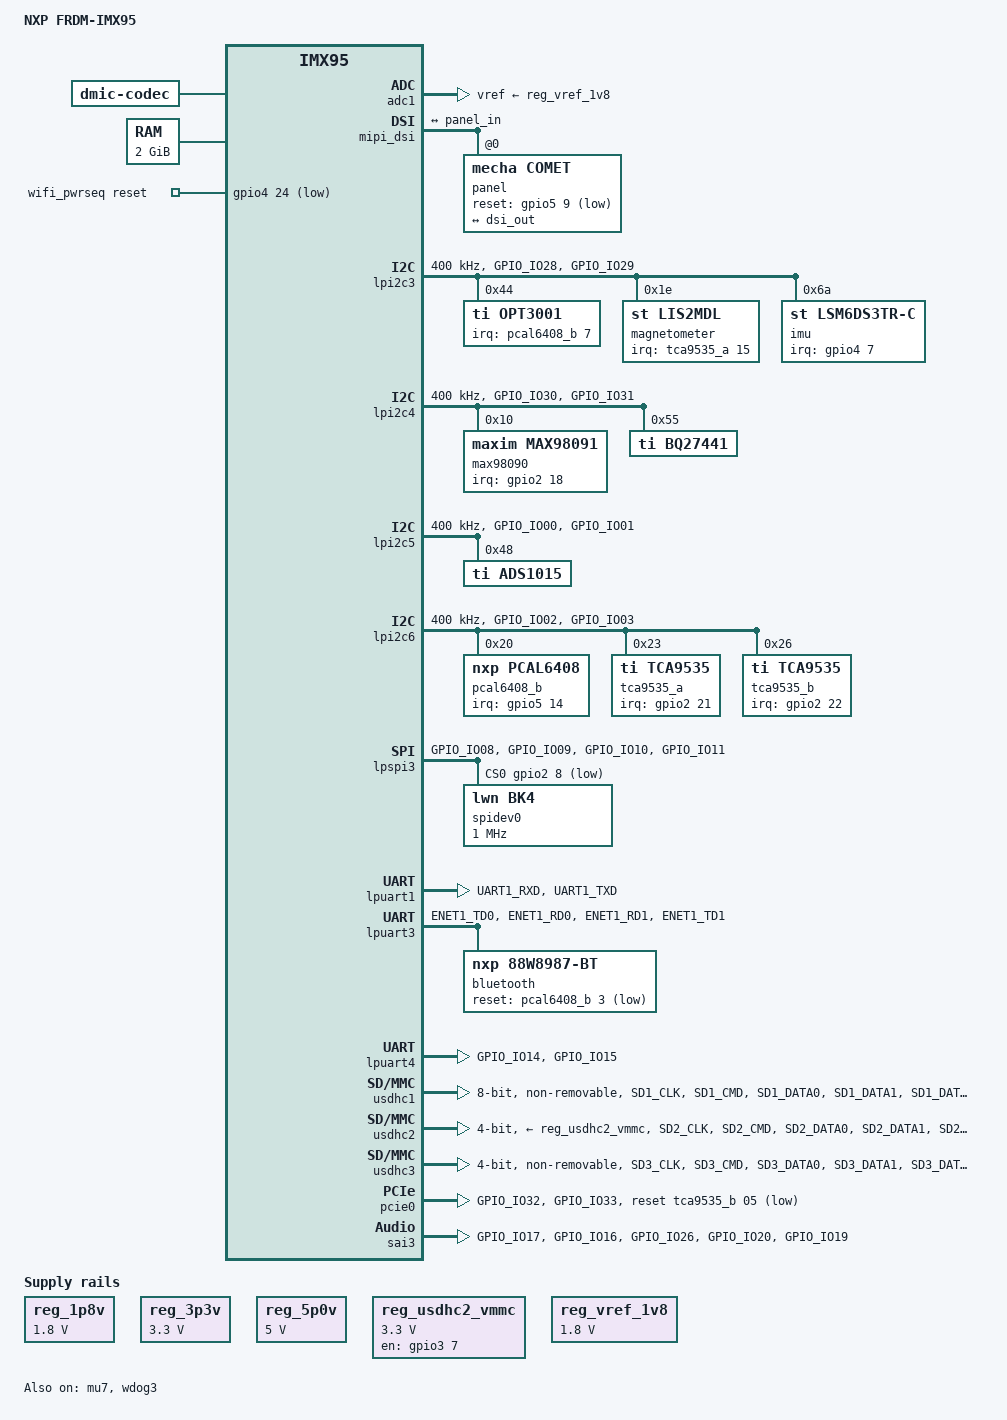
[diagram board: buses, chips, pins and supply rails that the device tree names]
// SPDX-License-Identifier: (GPL-2.0+ OR MIT)
/*
 * Copyright 2025 NXP
 */

/dts-v1/;

#include <dt-bindings/leds/common.h>
#include <dt-bindings/phy/phy-imx8-pcie.h>
#include <dt-bindings/pwm/pwm.h>
#include <dt-bindings/usb/pd.h>
#include "imx95.dtsi"
#include "imx95-clock.h"
#include <dt-bindings/gpio/gpio.h>
#include "imx95-pinfunc.h"

#include <dt-bindings/clock/nxp,imx95-clock.h>

#define FALLING_EDGE		BIT(0)
#define RISING_EDGE		BIT(1)

#define BRD_SM_CTRL_SD3_WAKE		0x8000	/*!< PCAL6408A-0 */
#define BRD_SM_CTRL_PCIE1_WAKE		0x8001	/*!< PCAL6408A-4 */
#define BRD_SM_CTRL_BT_WAKE		0x8002	/*!< PCAL6408A-5 */
#define BRD_SM_CTRL_PCIE2_WAKE		0x8003	/*!< PCAL6408A-6 */
#define BRD_SM_CTRL_BUTTON		0x8004	/*!< PCAL6408A-7 */

/ {
	compatible = "fsl,frdm-imx95", "fsl,imx95";
	model = "NXP FRDM-IMX95";

	aliases {
		gpio0 = &gpio1;
		gpio1 = &gpio2;
		gpio2 = &gpio3;
		gpio3 = &gpio4;
		gpio4 = &gpio5;
		i2c0 = &lpi2c1;
		i2c1 = &lpi2c2;
		i2c2 = &lpi2c3;
		i2c3 = &lpi2c4;
		i2c4 = &lpi2c5;
		i2c5 = &lpi2c6;
		i2c6 = &lpi2c7;
		i2c7 = &lpi2c8;
		mmc0 = &usdhc1;
		mmc1 = &usdhc2;
		mmc2 = &usdhc3;
		serial0 = &lpuart1;
		serial2 = &lpuart3;
	};

	chosen {
		stdout-path = &lpuart1;
		#address-cells = <2>;
		#size-cells = <2>;
	};

	dmic: dmic {
		compatible = "dmic-codec";
		#sound-dai-cells = <0>;
		num-channels = <2>;
	};

	memory@80000000 {
		device_type = "memory";
		reg = <0x0 0x80000000 0 0x80000000>;
	};

	reserved-memory {
		#address-cells = <2>;
		#size-cells = <2>;
		ranges;

		linux_cma: linux,cma {
			compatible = "shared-dma-pool";
			alloc-ranges = <0 0x80000000 0 0x7F000000>;
			reusable;
			size = <0 0x3c000000>;
			linux,cma-default;
		};

		vpu_boot: vpu_boot@a0000000 {
			reg = <0 0xa0000000 0 0x100000>;
			no-map;
		};

		vdev0vring0: vdev0vring0@88000000 {
			reg = <0 0x88000000 0 0x8000>;
			no-map;
		};

		vdev0vring1: vdev0vring1@88008000 {
			reg = <0 0x88008000 0 0x8000>;
			no-map;
		};

		vdev1vring0: vdev1vring0@88010000 {
			reg = <0 0x88010000 0 0x8000>;
			no-map;
		};

		vdev1vring1: vdev1vring1@88018000 {
			reg = <0 0x88018000 0 0x8000>;
			no-map;
		};

		rsc_table: rsc-table@88220000 {
			reg = <0 0x88220000 0 0x1000>;
			no-map;
		};

		vdevbuffer: vdevbuffer@88020000 {
			compatible = "shared-dma-pool";
			reg = <0 0x88020000 0 0x100000>;
			no-map;
		};
	};

	reg_1p8v: regulator-1p8v {
		compatible = "regulator-fixed";
		regulator-max-microvolt = <1800000>;
		regulator-min-microvolt = <1800000>;
		regulator-name = "+V1.8_SW";
	};

	reg_3p3v: regulator-3p3v {
		compatible = "regulator-fixed";
		regulator-max-microvolt = <3300000>;
		regulator-min-microvolt = <3300000>;
		regulator-name = "+V3.3_SW";
	};

	reg_5p0v: regulator-5p0v {
		compatible = "regulator-fixed";
		regulator-max-microvolt = <5000000>;
		regulator-min-microvolt = <5000000>;
		regulator-name = "+V5.0_SW";
	};

	reg_usdhc2_vmmc: regulator-usdhc2 {
		compatible = "regulator-fixed";
		pinctrl-names = "default";
		pinctrl-0 = <&pinctrl_reg_usdhc2_vmmc>;
		regulator-name = "VDD_SD2_3V3";
		regulator-min-microvolt = <3300000>;
		regulator-max-microvolt = <3300000>;
		gpio = <&gpio3 7 GPIO_ACTIVE_HIGH>;
		off-on-delay-us = <12000>;
		enable-active-high;
	};

	reg_vref_1v8: regulator-adc-vref {
		compatible = "regulator-fixed";
		regulator-name = "vref_1v8";
		regulator-min-microvolt = <1800000>;
		regulator-max-microvolt = <1800000>;
	};

	cm7: imx95-cm7 {
		compatible = "fsl,imx95-cm7";
		mbox-names = "tx", "rx", "rxdb";
		mboxes = <&mu7 0 1
			  &mu7 1 1
			  &mu7 3 1>;
		memory-region = <&vdevbuffer>, <&vdev0vring0>, <&vdev0vring1>,
				<&vdev1vring0>, <&vdev1vring1>, <&rsc_table>;
		/* cpuid and lmmid must align with SM firmware */
		fsl,cpu-id = <1>;
		fsl,lmm-id = <1>;
		fsl,startup-delay-ms = <50>;
		status = "okay";
	};

    wifi_pwrseq: wifi-pwrseq {
        compatible = "mmc-pwrseq-simple";
		reset-gpios = <&gpio4 24 GPIO_ACTIVE_LOW>;
        post-power-on-delay-ms = <20>;
        power-off-delay-us = <10000>;
    };

	sound-max98090 {
			compatible = "simple-audio-card";
			simple-audio-card,name = "max98090-audio";
			simple-audio-card,format = "i2s";
			simple-audio-card,frame-master = <&cpudai>;
			simple-audio-card,bitclock-master = <&cpudai>;
			simple-audio-card,bitclock-inversion;

			simple-audio-card,widgets =
					"Microphone", "Mic Jack",
					"Speakers", "Speakers",
					"Line", "Line In",
					"Line", "Line Out",
					"Headphone", "Headphone Jack";

			simple-audio-card,routing =
					"Headphone Jack", "HPL",
					"Headphone Jack", "HPR",
					"Line Out", "RCVL",
					"Line Out", "RCVR",
			/* Uncomment any of these below lines if the Line Input(s) is(are) used else leave it as such. */
					"IN1","Line In",
					"IN2","Line In",
					"IN5", "Line In",  /* IN1/IN2/IN3/IN4/IN6 (For single-ended input) */
					"IN34", "Line In", /* IN34 (For differential inputs) */
					"IN56", "Line In", /* IN34 (For differential inputs) */
					"MIC1", "Mic Jack",
					"MIC2", "Mic Jack",
					"Mic Jack", "MICBIAS",
					"IN1", "MICBIAS",
					"MIC1","IN1",
					"MIC2","IN1",
					//"Speakers", "SPKL",
					//"Speakers", "SPKR",

					/* DMIC-3 Routings */
					"DMICL", "DMIC Mux",
					"DMIC Mux", "DMIC3",
					"DMIC3", "DMIC3_ENA",
					"DMIC3", "AHPF",

					/* DMIC-4 Routings */
					"DMICR", "DMIC Mux",
					"DMIC Mux", "DMIC4",
					"DMIC4", "DMIC4_ENA",
					"DMIC3", "AHPF",
					"DMIC4", "AHPF",

					"HiFi Capture", "DMICL",
					"HiFi Capture", "DMICR";

			cpudai: simple-audio-card,cpu {
					sound-dai = <&sai3>;
					dai-tdm-slot-num = <2>;
					dai-tdm-slot-width = <32>;
			};

			simple-audio-card,codec {
					sound-dai = <&max98090>;
					clocks = <&scmi_clk IMX95_CLK_SAI3>;
			};
	};
};

&adc1 {
	vref-supply = <&reg_vref_1v8>;
	status = "okay";
};

&mipi_dsi {
	status = "okay";

	port {
		dsi_out: endpoint {
			remote-endpoint = <&panel_in>;
		};
	};

	panel@0 {
		compatible = "mecha,comet";
		reg = <0>;
		pinctrl-0 = <&pinctrl_display>;
		reset-gpios = <&gpio5 9 GPIO_ACTIVE_LOW>;
		status = "okay";

		port {
			panel_in: endpoint {
				remote-endpoint = <&dsi_out>;
			};
		};
	};
};

&lpi2c3 {
	clock-frequency = <400000>;
	pinctrl-names = "default";
	pinctrl-0 = <&pinctrl_lpi2c3>;
	status = "okay";

	// imx219: imx219@10 {
	// 	compatible = "sony,imx219";
	// 	reg = <0x10>;
	// 	pinctrl-names = "default";
	// 	pinctrl-0 = <&pinctrl_csi_mclk>, <&pinctrl_gpio5>;
	// 	clocks = <&scmi_clk IMX95_CLK_CCMCKO1>;
	// 	assigned-clocks = <&scmi_clk IMX95_CLK_CCMCKO1>;
	// 	assigned-clock-parents = <&scmi_clk IMX95_CLK_24M>;
	// 	assigned-clock-rates = <24000000>;
 //
	// 	reset-gpios = <&gpio5 4 GPIO_ACTIVE_HIGH>;
 //
	// 	rotation = <0>;
	// 	orientation = <2>;
	// 	status = "okay";
 //
	// 	port {
	// 		imx219_mipi_0_ep: endpoint {
	// 			remote-endpoint = <&mipi_csi0_ep>;
	// 			data-lanes = <1 2>;
	// 			clock-lanes = <0>;
	// 			clock-noncontinous;
	// 			link-frequencies = /bits/ 64 <456000000>;
 //
	// 		};
	// 	};
	// };

	opt3001@44 {
		compatible = "ti,opt3001";
		reg = <0x44>;
		interrupt-parent = <&pcal6408_b>;
		interrupts = <7 IRQ_TYPE_EDGE_FALLING>;
		status = "okay";
    	};

	magnetometer@1e {
		compatible = "st,lis2mdl";
		reg = <0x1e>;
		interrupt-parent = <&tca9535_a>;
		interrupts = <15 IRQ_TYPE_EDGE_RISING>;
	};

	imu: icm42605@6a {
		compatible = "st,lsm6ds3tr-c";
		pinctrl-names = "default";
		pinctrl-0 = <&pinctrl_imu_gpio>;
		reg = <0x6a>;
		interrupt-parent = <&gpio4>;
		interrupts = <7 IRQ_TYPE_EDGE_FALLING>;
	};
};

// &mipi_csi0 {
// 	status = "okay";
//
// 	ports {
// 		#address-cells = <1>;
// 		#size-cells = <0>;
//
// 		port@0 {
// 			reg = <0>;
// 			mipi_csi0_ep: endpoint {
// 				remote-endpoint = <&imx219_mipi_0_ep>;
// 				data-lanes = <1 2>;
// 				clock-lanes = <0>;
// 			};
// 		};
//
// 		port@1 {
// 			reg = <1>;
// 				mipi_csi0_out: endpoint {
// 				remote-endpoint = <&formatter_0_in>;
// 			};
// 		};
// 	};
// };
//
// &csi_pixel_formatter_0 {
// 	status = "okay";
//
// 	ports {
// 		#address-cells = <1>;
// 		#size-cells = <0>;
//
// 		port@0 {
// 			reg = <0>;
//
// 			formatter_0_in: endpoint {
// 				remote-endpoint = <&mipi_csi0_out>;
// 			};
// 		};
//
// 		port@1 {
// 			reg = <1>;
//
// 			formatter_0_out: endpoint {
// 				remote-endpoint = <&isi_in_2>;
// 			};
// 		};
// 	};
// };
//
//
// &isi {
// 	status = "okay";
//
// 	ports {
// 		#address-cells = <1>;
// 		#size-cells = <0>;
//
// 		port@2 {
// 			reg = <2>;
//
// 			isi_in_2: endpoint {
// 				remote-endpoint = <&formatter_0_out>;
// 			};
// 		};
// 	};
// };

&lpi2c4 {
	clock-frequency = <400000>;
	pinctrl-names = "default";
	pinctrl-0 = <&pinctrl_lpi2c4>;
	status = "okay";

	max98090: max98090@10 {
		#sound-dai-cells = <0>;
		pinctrl-names = "default";
		pinctrl-0 = <&pinctrl_sai3>;
		pinctrl-1 = <&pinctrl_codec>;
		compatible = "maxim,max98091";
		reg = <0x10>;
		clocks = <&scmi_clk IMX95_CLK_SAI3>;
		interrupt-parent = <&gpio2>;
		interrupts = <18 IRQ_TYPE_LEVEL_LOW>;
		clock-names = "mclk";
		status = "okay";
	};

	bq27441: fuel-gauge@55 {
		compatible = "ti,bq27441";
		reg = <0x55>;
		status = "okay";
		monitored-battery = <&bat>;
		bat: battery {
			compatible = "simple-battery";
			over-voltage-threshold-microvolt = <4500000>;
			re-charge-voltage-microvolt = <250000>;
			voltage-min-design-microvolt = <3200000>;
			voltage-max-design-microvolt = <4200000>;
			energy-full-design-microwatt-hours = <5290000>;
			charge-full-design-microamp-hours = <1430000>;
			precharge-current-microamp = <256000>;
			precharge-upper-limit-microvolt = <2500000>;
			charge-term-current-microamp = <128000>;
			constant-charge-current-max-microamp = <900000>;
			constant-charge-voltage-max-microvolt = <4200000>;
			factory-internal-resistance-micro-ohms = <250000>;
			ocv-capacity-celsius = <(-10) 0 10>;
			/* table for -10 degree Celsius */
			ocv-capacity-table-0 = <4185000 100>, <4113000 95>, <4066000 90>;
			/* table for 0 degree Celsius */
			ocv-capacity-table-1 = <4200000 100>, <4185000 95>, <4113000 90>;
			/* table for 10 degree Celsius */
			ocv-capacity-table-2 = <4250000 100>, <4200000 95>, <4185000 90>;
			resistance-temp-table = <20 100>, <10 90>, <0 80>, <(-10) 60>;
			operating-range-celsius = <(-30) 50>;
			ambient-celsius = <(-5) 50>;
			alert-celsius = <0 40>;
		};
	};
};

&lpi2c5 {
	clock-frequency = <400000>;
	pinctrl-names = "default";
	pinctrl-0 = <&pinctrl_lpi2c5>;
	status = "okay";

	ads1015@48 {
		compatible = "ti,ads1015";
		reg = <0x48>;
		#address-cells = <1>;
		#size-cells = <0>;
	};
};

&lpi2c6 {
	clock-frequency = <400000>;
	pinctrl-names = "default";
	pinctrl-0 = <&pinctrl_lpi2c6>;
	status = "okay";

	pcal6408_b: gpio@20 {
		compatible = "nxp,pcal6408";
		reg = <0x20>;
		gpio-controller;
		#gpio-cells = <2>;

		#interrupt-cells = <2>;
		interrupt-controller;
		interrupt-parent = <&gpio5>;
		interrupts = <14 IRQ_TYPE_LEVEL_LOW>;

		pinctrl-names = "default";
		pinctrl-0 = <&pinctrl_pcal6524>;


		gpio-line-names =
		"WIFI_RST_IND_3V3",
		"WIFI_SD_INT_3V3",
		"WIFI_RST_3V3",
		"BT/15.4_RST_3V3",
		"WIFI_WL_DEV_WAKE_3V3",
		"BT/15.4_DEV_WAKE_3V3",
		"IO_CONN_LOAD_SW_EN",
		"INT_ALS_3V3";

		io_conn_load_sw_en {
			gpio-hog;
			gpios = <6 GPIO_ACTIVE_LOW>;
			output-low;
			line-name = "IO_CONN_LOAD_SW_EN";
		};

		wifi_rst_3v3 {
			gpio-hog;
			gpios = <2 GPIO_ACTIVE_HIGH>;
			output-high;
			line-name = "WIFI_RST_3V3";
		};

		bt_rst_3v3 {
			gpio-hog;
			gpios = <3 GPIO_ACTIVE_HIGH>;
			output-high;
			line-name = "BT/15.4_RST_3V3";
		};

	};

	tca9535_a: gpio@23 {
		compatible = "ti,tca9535";
		reg = <0x23>;
		gpio-controller;
		#gpio-cells = <2>;

		#interrupt-cells = <2>;
		interrupt-controller;
		interrupt-parent = <&gpio2>;
		interrupts = <21 IRQ_TYPE_LEVEL_LOW>;

		pinctrl-names = "default";
		pinctrl-0 = <&pinctrl_pcal6524>;

		gpio-line-names =
		"USB1_3.0_MUX_SEL",
		"INT2/FSYNC",
		"USB1_ID_CC",
		"USBHUB_RESET#",
		"HWREV_1",
		"HWREV_0",
		"DP_1.2_IRQ",
		"USB2_PWR_FAULT",
		"USB1_PWR_EN_uP",
		"USB1_PWR_FAULT",
		"USBHUB_CHIPEN",
		"NC_13",
		"NC_14",
		"nSLEEP_HAPTIC",
		"ADC_ALERT/RDY_3V3",
		"MAGNETOMETER_INT";

		usb_hub_rst {
			gpio-hog;
			gpios = <3 GPIO_ACTIVE_HIGH>;
			output-high;
			line-name = "USB_HUB_RST";
		};

		usb_hub_en {
			gpio-hog;
			gpios = <10 GPIO_ACTIVE_HIGH>;
			output-low;
			line-name = "USB_HUB_EN";
		};
	};

	tca9535_b: gpio@26 {
		compatible = "ti,tca9535";
		reg = <0x26>;
		gpio-controller;
		#gpio-cells = <2>;

		#interrupt-cells = <2>;
		interrupt-controller;
		interrupt-parent = <&gpio2>;
		interrupts = <22 IRQ_TYPE_LEVEL_LOW>;

		pinctrl-names = "default";
		pinctrl-0 = <&pinctrl_pcal6524>;

		gpio-line-names =
		"RESET_PCIE#_3V3",
		"W_DISABLE2#_3V3",
		"RST_DP1.2",
		"RTC_INT",
		"FG_GPOUT_3V3",
		"PCIE_RST#_3V3",
		"PCIE_WAKE#_3V3",
		"DEVSLP_3V3",
		"CONFIG_0",
		"DPR_PCIE_3V3",
		"PCIE_GPIO9_1V8",
		"W_DISABLE1#_3V3",
		"FULL_CARD_PWROFF_PCIE",
		"CONFIG_3",
		"CONFIG_1",
		"CONFIG_2";

		rst_dpi {
			gpio-hog;
			gpios = <2 GPIO_ACTIVE_HIGH>;
			output-high;
			line-name = "RST_DP1.2";
		};

		pcie_gpio {
			gpio-hog;
			gpios = <10 GPIO_ACTIVE_HIGH>;
			output-high;
			line-name = "PCIE_GPIO9_1V8";
		};
	};
};

&lpspi3 {
	pinctrl-names = "default";
	pinctrl-0 = <&pinctrl_lpspi3>;
	cs-gpios = <&gpio2 8 GPIO_ACTIVE_LOW>;
	status = "okay";

	spidev0: spi@0 {
		reg = <0>;
		compatible = "lwn,bk4";
		spi-max-frequency = <1000000>;
	};
};

&lpuart1 {
	/* console */
	pinctrl-names = "default";
	pinctrl-0 = <&pinctrl_uart1>;
	status = "okay";
};

&lpuart3 {
	/* bluetooth */
	uart-has-rtscts;
	pinctrl-names = "default";
	pinctrl-0 = <&pinctrl_uart3>;
	status = "okay";

	bluetooth {
		compatible = "nxp,88w8987-bt";
		reset-gpios = <&pcal6408_b 3 GPIO_ACTIVE_LOW>;
		fw-init-baudrate = <3000000>;
		status = "okay";
	};
};

&lpuart4 {
	pinctrl-names = "default";
	pinctrl-0 = <&pinctrl_uart4>;
	status = "okay";
};

&mu7 {
	status = "okay";
};

&usdhc1 {
	pinctrl-names = "default", "state_100mhz", "state_200mhz", "sleep";
	pinctrl-0 = <&pinctrl_usdhc1>;
	pinctrl-1 = <&pinctrl_usdhc1_100mhz>;
	pinctrl-2 = <&pinctrl_usdhc1_200mhz>;
	pinctrl-3 = <&pinctrl_usdhc1>;
	bus-width = <8>;
	fsl,tuning-step = <1>;
	non-removable;
	no-sdio;
	no-sd;
	status = "okay";
};

&usdhc2 {
	pinctrl-names = "default", "state_100mhz", "state_200mhz", "sleep";
	pinctrl-0 = <&pinctrl_usdhc2>, <&pinctrl_usdhc2_gpio>;
	pinctrl-1 = <&pinctrl_usdhc2_100mhz>, <&pinctrl_usdhc2_gpio>;
	pinctrl-2 = <&pinctrl_usdhc2_200mhz>, <&pinctrl_usdhc2_gpio>;
	pinctrl-3 = <&pinctrl_usdhc2>, <&pinctrl_usdhc2_gpio>;
	cd-gpios = <&gpio3 00 GPIO_ACTIVE_LOW>;
	fsl,cd-gpio-wakeup-disable;
	vmmc-supply = <&reg_usdhc2_vmmc>;
	bus-width = <4>;
	fsl,tuning-step = <1>;
	status = "okay";
};

&usdhc3 {
	pinctrl-names = "default", "state_100mhz", "state_200mhz", "sleep";
	pinctrl-0 = <&pinctrl_usdhc3>;
	pinctrl-1 = <&pinctrl_usdhc3_100mhz>;
	pinctrl-2 = <&pinctrl_usdhc3_200mhz>;
	pinctrl-3 = <&pinctrl_usdhc3>;
	mmc-pwrseq = <&wifi_pwrseq>;

	bus-width = <4>;
	keep-power-in-suspend;
	non-removable;
	wakeup-source;
	cap-sdio-irq;
	status = "okay";
};

// &gpio5 {
//     pinctrl-names = "default";
//     pinctrl-0 = <&pinctrl_gpio5>;

//     camera_pdn {
//         gpio-hog;
//         gpios = <3 GPIO_ACTIVE_HIGH>;
//         output-high;
//         line-name = "CAM_PDN";
//     };

//     camera_rst {
//         gpio-hog;
//         gpios = <4 GPIO_ACTIVE_HIGH>;
//         output-low;
//         line-name = "CAM_RST";
//     };
// };
/* The default setting in i.mx95.dtsi are for i.MX95 19x19,
 * so change them for i.MX95 15x15 here.
 */

&thermal_zones {
	pf09 {
		polling-delay-passive = <250>;
		polling-delay = <2000>;
		thermal-sensors = <&scmi_sensor 2>;
		trips {
			pf09_alert: trip0 {
				temperature = <140000>;
				hysteresis = <2000>;
				type = "passive";
			};

			pf09_crit: trip1 {
				temperature = <155000>;
				hysteresis = <2000>;
				type = "critical";
			};
		};
	};

	pf53_arm {
		polling-delay-passive = <250>;
		polling-delay = <2000>;
		thermal-sensors = <&scmi_sensor 4>;
		trips {
			pf5301_alert: trip0 {
				temperature = <140000>;
				hysteresis = <2000>;
				type = "passive";
			};

			pf5301_crit: trip1 {
				temperature = <155000>;
				hysteresis = <2000>;
				type = "critical";
			};
		};

		cooling-maps {
			map0 {
				trip = <&pf5301_alert>;
				cooling-device =
					<&A55_0 THERMAL_NO_LIMIT THERMAL_NO_LIMIT>,
					<&A55_1 THERMAL_NO_LIMIT THERMAL_NO_LIMIT>,
					<&A55_2 THERMAL_NO_LIMIT THERMAL_NO_LIMIT>,
					<&A55_3 THERMAL_NO_LIMIT THERMAL_NO_LIMIT>,
					<&A55_4 THERMAL_NO_LIMIT THERMAL_NO_LIMIT>,
					<&A55_5 THERMAL_NO_LIMIT THERMAL_NO_LIMIT>;
			};
		};
	};

	pf53_soc {
		polling-delay-passive = <250>;
		polling-delay = <2000>;
		thermal-sensors = <&scmi_sensor 3>;
		trips {
			pf5302_alert: trip0 {
				temperature = <140000>;
				hysteresis = <2000>;
				type = "passive";
			};

			pf5302_crit: trip1 {
				temperature = <155000>;
				hysteresis = <2000>;
				type = "critical";
			};
		};
	};
};

// &usb2 {
// 	dr_mode = "host";
// 	vbus-supply = <&reg_usb_vbus>;
// 	disable-over-current;
// 	status = "okay";
// };

&usb3 {
	status = "disabled";
};

&scmi_misc {
	nxp,ctrl-ids = <BRD_SM_CTRL_SD3_WAKE		1
			BRD_SM_CTRL_PCIE1_WAKE		1
			BRD_SM_CTRL_BT_WAKE		1
			BRD_SM_CTRL_PCIE2_WAKE		1
			BRD_SM_CTRL_BUTTON		1>;
};

&scmi_iomuxc {

	pinctrl_lpi2c1: lpi2c1grp {
		fsl,pins = <
			IMX95_PAD_I2C1_SCL__AONMIX_TOP_LPI2C1_SCL		0x4000191e
			IMX95_PAD_I2C1_SDA__AONMIX_TOP_LPI2C1_SDA		0x4000191e
			>;
	};

	pinctrl_lpi2c2: lpi2c2grp {
		fsl,pins = <
			IMX95_PAD_I2C2_SCL__AONMIX_TOP_LPI2C2_SCL	0x40000b9e
			IMX95_PAD_I2C2_SDA__AONMIX_TOP_LPI2C2_SDA	0x40000b9e
		>;
	};

	pinctrl_lpi2c3: lpi2c3grp {
		fsl,pins = <
			IMX95_PAD_GPIO_IO28__LPI2C3_SDA			0x40000b9e
			IMX95_PAD_GPIO_IO29__LPI2C3_SCL			0x40000b9e
		>;
	};

	pinctrl_lpi2c4: lpi2c4grp {
		fsl,pins = <
			IMX95_PAD_GPIO_IO30__LPI2C4_SDA			0x40000b9e
			IMX95_PAD_GPIO_IO31__LPI2C4_SCL			0x40000b9e
		>;
	};

	pinctrl_lpi2c5: lpi2c5grp {
		fsl,pins = <
			IMX95_PAD_GPIO_IO00__LPI2C5_SDA			0x40000b9e
			IMX95_PAD_GPIO_IO01__LPI2C5_SCL			0x40000b9e
		>;
	};

	pinctrl_lpi2c6: lpi2c6grp {
		fsl,pins = <
			IMX95_PAD_GPIO_IO02__LPI2C6_SDA			0x40000b9e
			IMX95_PAD_GPIO_IO03__LPI2C6_SCL			0x40000b9e
		>;
	};


	pinctrl_pcal6524: pcal6524grp {
		fsl,pins = <
			IMX95_PAD_GPIO_IO34__GPIO5_IO_BIT14		0x31e
			IMX95_PAD_GPIO_IO21__GPIO2_IO_BIT21		0X31e
			IMX95_PAD_GPIO_IO22__GPIO2_IO_BIT22		0x31e
		>;
	};

	pinctrl_uart1: uart1grp {
		fsl,pins = <
			IMX95_PAD_UART1_RXD__AONMIX_TOP_LPUART1_RX      0x31e
			IMX95_PAD_UART1_TXD__AONMIX_TOP_LPUART1_TX      0x31e
		>;
	};

	pinctrl_uart3: uart3grp {
		fsl,pins = <
			IMX95_PAD_ENET1_TD0__LPUART3_TX			0x31e
			IMX95_PAD_ENET1_RD0__LPUART3_RX			0x31e
			IMX95_PAD_ENET1_RD1__LPUART3_CTS_B		0x31e
			IMX95_PAD_ENET1_TD1__LPUART3_RTS_B		0x31e
		>;
	};

	pinctrl_uart4: uart4grp {
		fsl,pins = <
			IMX95_PAD_GPIO_IO14__LPUART4_TX			0x31e
			IMX95_PAD_GPIO_IO15__LPUART4_RX			0x31e
		>;
	};

	pinctrl_csi_mclk: csimclk {
		fsl,pins = <
			IMX95_PAD_CCM_CLKO1__CCMSRCGPCMIX_TOP_CLKO_1	0x39e
		>;
	};

	pinctrl_gpio5: gpio5grp {
		fsl,pins = <
			IMX95_PAD_XSPI1_DATA3__GPIO5_IO_BIT3		0x51e
			IMX95_PAD_XSPI1_DATA4__GPIO5_IO_BIT4		0x31e
		>;
	};

	pinctrl_imu_gpio: imugrp {
		fsl,pins = <
				IMX95_PAD_ENET1_TXC__GPIO4_IO_BIT7		0x31e
		>;
	};

	pinctrl_emdio: emdiogrp {
		fsl,pins = <
			IMX95_PAD_ENET2_MDC__NETCMIX_TOP_NETC_MDC		0x50e
			IMX95_PAD_ENET2_MDIO__NETCMIX_TOP_NETC_MDIO		0x90e
		>;
	};

	pinctrl_mipi_dsi_csi: mipidsigrp {
		fsl,pins = <
			IMX95_PAD_XSPI1_DATA6__GPIO5_IO_BIT6			0x31e
		>;
	};

	pinctrl_ekey_pwr: ekeypwrgrp {
		fsl,pins = <
			IMX95_PAD_XSPI1_SS1_B__GPIO5_IO_BIT11			0x31e
		>;
	};

	pinctrl_mkey_pwr: mkeypwrgrp {
		fsl,pins = <
			IMX95_PAD_XSPI1_SS0_B__GPIO5_IO_BIT10			0x31e
		>;
	};

	pinctrl_sai3: sai3grp {
		fsl,pins = <
			IMX95_PAD_GPIO_IO17__SAI3_MCLK				0x31e
			IMX95_PAD_GPIO_IO16__SAI3_TX_BCLK			0x31e
			IMX95_PAD_GPIO_IO26__SAI3_TX_SYNC			0x31e
			IMX95_PAD_GPIO_IO20__SAI3_RX_DATA_BIT0			0x31e
			IMX95_PAD_GPIO_IO19__SAI3_TX_DATA_BIT0			0x31e
		>;
	};

	pinctrl_pcie0: pcie0grp {
		fsl,pins = <
			IMX95_PAD_GPIO_IO32__HSIOMIX_TOP_PCIE1_CLKREQ_B		0x40000b1e
			IMX95_PAD_GPIO_IO33__GPIO5_IO_BIT13			0x31e
		>;
	};

	pinctrl_pdm: pdmgrp {
		fsl,pins = <
			IMX95_PAD_PDM_CLK__AONMIX_TOP_PDM_CLK				0x31e
			IMX95_PAD_PDM_BIT_STREAM0__AONMIX_TOP_PDM_BIT_STREAM_BIT0	0x31e
		>;
	};

	pinctrl_usdhc1: usdhc1grp {
		fsl,pins = <
			IMX95_PAD_SD1_CLK__USDHC1_CLK				0x158e
			IMX95_PAD_SD1_CMD__USDHC1_CMD				0x138e
			IMX95_PAD_SD1_DATA0__USDHC1_DATA0			0x138e
			IMX95_PAD_SD1_DATA1__USDHC1_DATA1			0x138e
			IMX95_PAD_SD1_DATA2__USDHC1_DATA2			0x138e
			IMX95_PAD_SD1_DATA3__USDHC1_DATA3			0x138e
			IMX95_PAD_SD1_DATA4__USDHC1_DATA4			0x138e
			IMX95_PAD_SD1_DATA5__USDHC1_DATA5			0x138e
			IMX95_PAD_SD1_DATA6__USDHC1_DATA6			0x138e
			IMX95_PAD_SD1_DATA7__USDHC1_DATA7			0x138e
			IMX95_PAD_SD1_STROBE__USDHC1_STROBE			0x158e
		>;
	};

	pinctrl_usdhc1_100mhz: usdhc1-100mhzgrp {
		fsl,pins = <
			IMX95_PAD_SD1_CLK__USDHC1_CLK				0x158e
			IMX95_PAD_SD1_CMD__USDHC1_CMD				0x138e
			IMX95_PAD_SD1_DATA0__USDHC1_DATA0			0x138e
			IMX95_PAD_SD1_DATA1__USDHC1_DATA1			0x138e
			IMX95_PAD_SD1_DATA2__USDHC1_DATA2			0x138e
			IMX95_PAD_SD1_DATA3__USDHC1_DATA3			0x138e
			IMX95_PAD_SD1_DATA4__USDHC1_DATA4			0x138e
			IMX95_PAD_SD1_DATA5__USDHC1_DATA5			0x138e
			IMX95_PAD_SD1_DATA6__USDHC1_DATA6			0x138e
			IMX95_PAD_SD1_DATA7__USDHC1_DATA7			0x138e
			IMX95_PAD_SD1_STROBE__USDHC1_STROBE			0x158e
		>;
	};

	pinctrl_usdhc1_200mhz: usdhc1-200mhzgrp {
		fsl,pins = <
			IMX95_PAD_SD1_CLK__USDHC1_CLK				0x15fe
			IMX95_PAD_SD1_CMD__USDHC1_CMD				0x13fe
			IMX95_PAD_SD1_DATA0__USDHC1_DATA0			0x13fe
			IMX95_PAD_SD1_DATA1__USDHC1_DATA1			0x13fe
			IMX95_PAD_SD1_DATA2__USDHC1_DATA2			0x13fe
			IMX95_PAD_SD1_DATA3__USDHC1_DATA3			0x13fe
			IMX95_PAD_SD1_DATA4__USDHC1_DATA4			0x13fe
			IMX95_PAD_SD1_DATA5__USDHC1_DATA5			0x13fe
			IMX95_PAD_SD1_DATA6__USDHC1_DATA6			0x13fe
			IMX95_PAD_SD1_DATA7__USDHC1_DATA7			0x13fe
			IMX95_PAD_SD1_STROBE__USDHC1_STROBE			0x15fe
		>;
	};

	pinctrl_reg_usdhc2_vmmc: regusdhc2vmmcgrp {
		fsl,pins = <
			IMX95_PAD_SD2_RESET_B__GPIO3_IO_BIT7			0x31e
		>;
	};

	pinctrl_lpspi3: lpspi3grp {
		fsl,pins = <
			IMX95_PAD_GPIO_IO08__GPIO2_IO_BIT8			0x39e
			IMX95_PAD_GPIO_IO09__LPSPI3_SIN				0x39e
			IMX95_PAD_GPIO_IO10__LPSPI3_SOUT			0x39e
			IMX95_PAD_GPIO_IO11__LPSPI3_SCK				0x39e
		>;
	};

	pinctrl_usdhc2_gpio: usdhc2gpiogrp {
		fsl,pins = <
			IMX95_PAD_SD2_CD_B__GPIO3_IO_BIT0			0x31e
		>;
	};

	pinctrl_usdhc2: usdhc2grp {
		fsl,pins = <
			IMX95_PAD_SD2_CLK__USDHC2_CLK				0x158e
			IMX95_PAD_SD2_CMD__USDHC2_CMD				0x138e
			IMX95_PAD_SD2_DATA0__USDHC2_DATA0			0x138e
			IMX95_PAD_SD2_DATA1__USDHC2_DATA1			0x138e
			IMX95_PAD_SD2_DATA2__USDHC2_DATA2			0x138e
			IMX95_PAD_SD2_DATA3__USDHC2_DATA3			0x138e
			IMX95_PAD_SD2_VSELECT__USDHC2_VSELECT			0x51e
		>;
	};

	pinctrl_usdhc2_100mhz: usdhc2-100mhzgrp {
		fsl,pins = <
			IMX95_PAD_SD2_CLK__USDHC2_CLK				0x158e
			IMX95_PAD_SD2_CMD__USDHC2_CMD				0x138e
			IMX95_PAD_SD2_DATA0__USDHC2_DATA0			0x138e
			IMX95_PAD_SD2_DATA1__USDHC2_DATA1			0x138e
			IMX95_PAD_SD2_DATA2__USDHC2_DATA2			0x138e
			IMX95_PAD_SD2_DATA3__USDHC2_DATA3			0x138e
			IMX95_PAD_SD2_VSELECT__USDHC2_VSELECT			0x51e
		>;
	};

	pinctrl_usdhc2_200mhz: usdhc2-200mhzgrp {
		fsl,pins = <
			IMX95_PAD_SD2_CLK__USDHC2_CLK				0x158e
			IMX95_PAD_SD2_CMD__USDHC2_CMD				0x138e
			IMX95_PAD_SD2_DATA0__USDHC2_DATA0			0x138e
			IMX95_PAD_SD2_DATA1__USDHC2_DATA1			0x138e
			IMX95_PAD_SD2_DATA2__USDHC2_DATA2			0x138e
			IMX95_PAD_SD2_DATA3__USDHC2_DATA3			0x138e
			IMX95_PAD_SD2_VSELECT__USDHC2_VSELECT			0x51e
		>;
	};

	pinctrl_usdhc3: usdhc3grp {
		fsl,pins = <
			IMX95_PAD_SD3_CLK__USDHC3_CLK				0x158e
			IMX95_PAD_SD3_CMD__USDHC3_CMD				0x138e
			IMX95_PAD_SD3_DATA0__USDHC3_DATA0			0x138e
			IMX95_PAD_SD3_DATA1__USDHC3_DATA1			0x138e
			IMX95_PAD_SD3_DATA2__USDHC3_DATA2			0x138e
			IMX95_PAD_SD3_DATA3__USDHC3_DATA3			0x138e
		>;
	};

	pinctrl_usdhc3_100mhz: usdhc3-100mhzgrp {
		fsl,pins = <
			IMX95_PAD_SD3_CLK__USDHC3_CLK				0x158e
			IMX95_PAD_SD3_CMD__USDHC3_CMD				0x138e
			IMX95_PAD_SD3_DATA0__USDHC3_DATA0			0x138e
			IMX95_PAD_SD3_DATA1__USDHC3_DATA1			0x138e
			IMX95_PAD_SD3_DATA2__USDHC3_DATA2			0x138e
			IMX95_PAD_SD3_DATA3__USDHC3_DATA3			0x138e
		>;
	};

	pinctrl_usdhc3_200mhz: usdhc3-200mhzgrp {
		fsl,pins = <
			IMX95_PAD_SD3_CLK__USDHC3_CLK				0x15fe
			IMX95_PAD_SD3_CMD__USDHC3_CMD				0x13fe
			IMX95_PAD_SD3_DATA0__USDHC3_DATA0			0x13fe
			IMX95_PAD_SD3_DATA1__USDHC3_DATA1			0x13fe
			IMX95_PAD_SD3_DATA2__USDHC3_DATA2			0x13fe
			IMX95_PAD_SD3_DATA3__USDHC3_DATA3			0x13fe
		>;
	};

	pinctrl_display: displaygrp {
		fsl,pins = <
			IMX95_PAD_XSPI1_SCLK__GPIO5_IO_BIT9	0x31e
		>;
	};

	pinctrl_codec: codecgrp {
		fsl,pins = <
			IMX95_PAD_GPIO_IO18__GPIO2_IO_BIT18 		0x31e
		>;
	};
};

&pcie0 {
	pinctrl-0 = <&pinctrl_pcie0>;
	pinctrl-names = "default";
	reset-gpio = <&tca9535_b 05 GPIO_ACTIVE_LOW>;
	status = "okay";
};

&wdog3 {
	status = "okay";
};

&sai3 {
	assigned-clocks = <&scmi_clk IMX95_CLK_AUDIOPLL1_VCO>,
			  <&scmi_clk IMX95_CLK_AUDIOPLL2_VCO>,
			  <&scmi_clk IMX95_CLK_AUDIOPLL1>,
			  <&scmi_clk IMX95_CLK_AUDIOPLL2>,
			  <&scmi_clk IMX95_CLK_SAI3>;
	assigned-clock-parents = <0>, <0>, <0>, <0>, <&scmi_clk IMX95_CLK_AUDIOPLL1>;
	assigned-clock-rates = <3932160000>, <3612672000>, <393216000>, <361267200>, <12288000>;
	#sound-dai-cells = <0>;
	pinctrl-0 = <&pinctrl_sai3>;
	pinctrl-names = "default";
	fsl,sai-mclk-direction-output;
	status = "okay";
};
